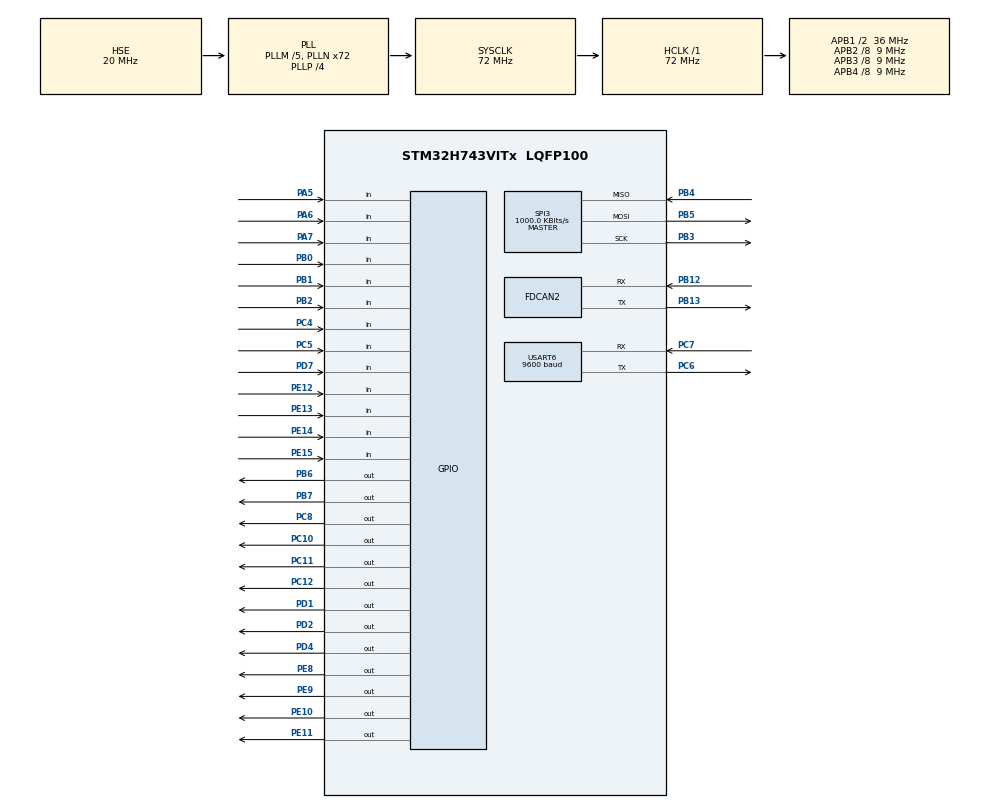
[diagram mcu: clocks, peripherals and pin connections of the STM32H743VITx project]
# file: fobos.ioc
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Dma.Request0=SPI3_TX
Dma.SPI3_TX.0.Direction=DMA_MEMORY_TO_PERIPH
Dma.SPI3_TX.0.EventEnable=DISABLE
Dma.SPI3_TX.0.FIFOMode=DMA_FIFOMODE_DISABLE
Dma.SPI3_TX.0.Instance=DMA1_Stream0
Dma.SPI3_TX.0.MemDataAlignment=DMA_MDATAALIGN_BYTE
Dma.SPI3_TX.0.MemInc=DMA_MINC_ENABLE
Dma.SPI3_TX.0.Mode=DMA_NORMAL
Dma.SPI3_TX.0.PeriphDataAlignment=DMA_PDATAALIGN_BYTE
Dma.SPI3_TX.0.PeriphInc=DMA_PINC_DISABLE
Dma.SPI3_TX.0.Polarity=HAL_DMAMUX_REQ_GEN_RISING
Dma.SPI3_TX.0.Priority=DMA_PRIORITY_LOW
Dma.SPI3_TX.0.RequestNumber=1
Dma.SPI3_TX.0.SyncEnable=DISABLE
Dma.SPI3_TX.0.SyncPolarity=HAL_DMAMUX_SYNC_NO_EVENT
Dma.SPI3_TX.0.SyncRequestNumber=1
FDCAN2.AutoRetransmission=ENABLE
FDCAN2.Init_ProtocolException=ENABLE
FDCAN2.NominalPrescaler=4
FDCAN2.NominalTimeSeg1=13
FDCAN2.RxBuffersNbr=0
FDCAN2.RxFifo0ElmtsNbr=4
FDCAN2.RxFifo1ElmtsNbr=1
FDCAN2.StdFiltersNbr=3
FDCAN2.TxBuffersNbr=5
FDCAN2.TxFifoQueueElmtsNbr=0
FDCAN2.TxFifoQueueMode=FDCAN_TX_QUEUE_OPERATION
FREERTOS.Tasks01=EthTask,0,1024,EthernetTask_func,Default,NULL,Dynamic,NULL,NULL;DigIOTask,-1,128,DigIOTask_func,Default,NULL,Dynamic,NULL,NULL
FREERTOS.configUSE_TIMERS=1
Mcu.Family=STM32H7
Mcu.Name=STM32H743VITx
Mcu.Package=LQFP100
NVIC.DMA1_Stream0_IRQn=true\:5\:0\:false\:false\:true\:true\:false
NVIC.PriorityGroup=NVIC_PRIORITYGROUP_4
NVIC.SPI3_IRQn=true\:5\:0\:false\:false\:true\:true\:false
NVIC.TIM7_IRQn=true\:5\:0\:false\:false\:true\:true\:true
PA13\ (JTMS/SWDIO).Mode=Serial_Wire
PA13\ (JTMS/SWDIO).Signal=SYS_JTMS-SWDIO
PA14\ (JTCK/SWCLK).Mode=Serial_Wire
PA14\ (JTCK/SWCLK).Signal=SYS_JTCK-SWCLK
PA5.Signal=GPIO_Input
PA6.Signal=GPIO_Input
PA7.Signal=GPIO_Input
PB0.Signal=GPIO_Input
PB1.Signal=GPIO_Input
PB12.Mode=FDCANSlave
PB12.Signal=FDCAN2_RX
PB13.Mode=FDCANSlave
PB13.Signal=FDCAN2_TX
PB2.Signal=GPIO_Input
PB3\ (JTDO/TRACESWO).GPIO_Mode=GPIO_MODE_AF_PP
PB3\ (JTDO/TRACESWO).GPIO_PuPd=GPIO_PULLDOWN
PB3\ (JTDO/TRACESWO).GPIO_Speed=GPIO_SPEED_FREQ_VERY_HIGH
PB3\ (JTDO/TRACESWO).Mode=Full_Duplex_Master
PB3\ (JTDO/TRACESWO).Signal=SPI3_SCK
PB4\ (NJTRST).GPIO_Mode=GPIO_MODE_AF_PP
PB4\ (NJTRST).GPIO_PuPd=GPIO_PULLDOWN
PB4\ (NJTRST).GPIO_Speed=GPIO_SPEED_FREQ_VERY_HIGH
PB4\ (NJTRST).Mode=Full_Duplex_Master
PB4\ (NJTRST).Signal=SPI3_MISO
PB5.GPIO_Mode=GPIO_MODE_AF_PP
PB5.GPIO_PuPd=GPIO_PULLDOWN
PB5.GPIO_Speed=GPIO_SPEED_FREQ_VERY_HIGH
PB5.Mode=Full_Duplex_Master
PB5.Signal=SPI3_MOSI
PB6.GPIO_FM6=SYSCFG_PMCR_I2C_PB6_FMP
PB6.GPIO_PuPd=GPIO_PULLDOWN
PB6.GPIO_Speed=GPIO_SPEED_FREQ_HIGH
PB6.Signal=GPIO_Output
PB7.Signal=GPIO_Output
PC10.GPIO_PuPd=GPIO_PULLDOWN
PC10.Signal=GPIO_Output
PC11.GPIO_PuPd=GPIO_PULLDOWN
PC11.Signal=GPIO_Output
PC12.GPIO_PuPd=GPIO_PULLDOWN
PC12.Signal=GPIO_Output
PC14-OSC32_IN\ (OSC32_IN).Mode=LSE-External-Oscillator
PC14-OSC32_IN\ (OSC32_IN).Signal=RCC_OSC32_IN
PC15-OSC32_OUT\ (OSC32_OUT).Mode=LSE-External-Oscillator
PC15-OSC32_OUT\ (OSC32_OUT).Signal=RCC_OSC32_OUT
PC4.Signal=GPIO_Input
PC5.Signal=GPIO_Input
PC6.Mode=Asynchronous
PC6.Signal=USART6_TX
PC7.Mode=Asynchronous
PC7.Signal=USART6_RX
PC8.GPIO_PuPd=GPIO_PULLDOWN
PC8.Signal=GPIO_Output
PD1.GPIO_PuPd=GPIO_PULLDOWN
PD1.Signal=GPIO_Output
PD2.GPIO_PuPd=GPIO_PULLDOWN
PD2.Signal=GPIO_Output
PD4.GPIO_PuPd=GPIO_PULLDOWN
PD4.Signal=GPIO_Output
PD7.GPIO_PuPd=GPIO_PULLDOWN
PD7.Signal=GPIO_Input
PE10.Signal=GPIO_Output
PE11.Signal=GPIO_Output
PE12.Signal=GPIO_Input
PE13.Signal=GPIO_Input
PE14.Signal=GPIO_Input
PE15.Signal=GPIO_Input
PE8.Signal=GPIO_Output
PE9.Signal=GPIO_Output
PH0-OSC_IN\ (PH0).Mode=HSE-External-Oscillator
PH0-OSC_IN\ (PH0).Signal=RCC_OSC_IN
PH1-OSC_OUT\ (PH1).Mode=HSE-External-Oscillator
PH1-OSC_OUT\ (PH1).Signal=RCC_OSC_OUT
ProjectManager.HeapSize=0x200
ProjectManager.StackSize=0x400
ProjectManager.TargetToolchain=TrueSTUDIO
RCC.ADCFreq_Value=75000000
RCC.APB1Freq_Value=36000000
RCC.APB2Freq_Value=9000000
RCC.APB3Freq_Value=9000000
RCC.APB4Freq_Value=9000000
RCC.CKPERSourceSelection=RCC_CLKPSOURCE_HSE
RCC.CortexFreq_Value=72000000
RCC.D1PPRE=RCC_APB3_DIV8
RCC.D2PPRE1=RCC_APB1_DIV2
RCC.D2PPRE2=RCC_APB2_DIV8
RCC.D3PPRE=RCC_APB4_DIV8
RCC.DIVM1=5
RCC.DIVM2=20
RCC.DIVM3=8
RCC.DIVN1=72
RCC.DIVN2=150
RCC.DIVN3=96
RCC.DIVP1=4
RCC.DIVP3=128
RCC.DIVQ1=9
RCC.DIVQ2=30
RCC.DIVQ3=5
RCC.HCLKFreq_Value=72000000
RCC.HSE_VALUE=20000000
RCC.PLLSourceVirtual=RCC_PLLSOURCE_HSE
RCC.SYSCLKFreq_VALUE=72000000
RCC.SYSCLKSource=RCC_SYSCLKSOURCE_PLLCLK
RCC.USART16CLockSelection=RCC_USART16CLKSOURCE_PLL2
RCC.USBCLockSelection=RCC_USBCLKSOURCE_PLL3
RCC.USBFreq_Value=48000000
SPI3.BaudRatePrescaler=SPI_BAUDRATEPRESCALER_32
SPI3.CalculateBaudRate=1000.0 KBits/s
SPI3.DataSize=SPI_DATASIZE_8BIT
SPI3.Direction=SPI_DIRECTION_2LINES
SPI3.Mode=SPI_MODE_MASTER
SPI3.VirtualType=VM_MASTER
TIM7.Period=1500
TIM7.Prescaler=2000
USART6.BaudRate=9600
USART6.FIFOMode=FIFOMODE_DISABLE
USART6.VirtualMode=VM_ASYNC
VP_FREERTOS_VS_ENABLE.Mode=Enabled
VP_IWDG1_VS_IWDG.Mode=IWDG_Activate
VP_TIM7_VS_ClockSourceINT.Mode=Enable_Timer
board=custom

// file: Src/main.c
/* USER CODE BEGIN Header */
/**
  ******************************************************************************
  * @file           : main.c
  * @brief          : Main program body
  ******************************************************************************
  * This notice applies to any and all portions of this file
  * that are not between comment pairs USER CODE BEGIN and
  * USER CODE END. Other portions of this file, whether
  * inserted by the user or by software development tools
  * are owned by their respective copyright owners.
  *
  * Copyright (c) 2019 STMicroelectronics International N.V.
  * All rights reserved.
  *
  * Redistribution and use in source and binary forms, with or without
  * modification, are permitted, provided that the following conditions are met:
  *
  * 1. Redistribution of source code must retain the above copyright notice,
  *    this list of conditions and the following disclaimer.
  * 2. Redistributions in binary form must reproduce the above copyright notice,
  *    this list of conditions and the following disclaimer in the documentation
  *    and/or other materials provided with the distribution.
  * 3. Neither the name of STMicroelectronics nor the names of other
  *    contributors to this software may be used to endorse or promote products
  *    derived from this software without specific written permission.
  * 4. This software, including modifications and/or derivative works of this
  *    software, must execute solely and exclusively on microcontroller or
  *    microprocessor devices manufactured by or for STMicroelectronics.
  * 5. Redistribution and use of this software other than as permitted under
  *    this license is void and will automatically terminate your rights under
  *    this license.
  *
  * THIS SOFTWARE IS PROVIDED BY STMICROELECTRONICS AND CONTRIBUTORS "AS IS"
  * AND ANY EXPRESS, IMPLIED OR STATUTORY WARRANTIES, INCLUDING, BUT NOT
  * LIMITED TO, THE IMPLIED WARRANTIES OF MERCHANTABILITY, FITNESS FOR A
  * PARTICULAR PURPOSE AND NON-INFRINGEMENT OF THIRD PARTY INTELLECTUAL PROPERTY
  * RIGHTS ARE DISCLAIMED TO THE FULLEST EXTENT PERMITTED BY LAW. IN NO EVENT
  * SHALL STMICROELECTRONICS OR CONTRIBUTORS BE LIABLE FOR ANY DIRECT, INDIRECT,
  * INCIDENTAL, SPECIAL, EXEMPLARY, OR CONSEQUENTIAL DAMAGES (INCLUDING, BUT NOT
  * LIMITED TO, PROCUREMENT OF SUBSTITUTE GOODS OR SERVICES; LOSS OF USE, DATA,
  * OR PROFITS; OR BUSINESS INTERRUPTION) HOWEVER CAUSED AND ON ANY THEORY OF
  * LIABILITY, WHETHER IN CONTRACT, STRICT LIABILITY, OR TORT (INCLUDING
  * NEGLIGENCE OR OTHERWISE) ARISING IN ANY WAY OUT OF THE USE OF THIS SOFTWARE,
  * EVEN IF ADVISED OF THE POSSIBILITY OF SUCH DAMAGE.
  *
  ******************************************************************************
  */
/* USER CODE END Header */

#include "main.h"
#include "cmsis_os.h"

/* USER CODE BEGIN Includes */
#include "fobos_eth.h"
#include "own_defines.h"

//#include "webserver.h"
/* USER CODE END Includes */

FDCAN_HandleTypeDef hfdcan2;

IWDG_HandleTypeDef hiwdg1;

SPI_HandleTypeDef hspi3;
DMA_HandleTypeDef hdma_spi3_tx;

TIM_HandleTypeDef htim7;

UART_HandleTypeDef huart6;

osThreadId EthTaskHandle;
osThreadId DigIOTaskHandle;

TaskHandle_t xFobos_scan_Handle = NULL;//osThreadId is a TaskHandle_t

TimerHandle_t xTimer_btn_timer;

void SystemClock_Config(void);
static void MX_GPIO_Init(void);
static void MX_DMA_Init(void);
static void MX_USART6_UART_Init(void);
static void MX_TIM7_Init(void);
static void MX_SPI3_Init(void);
static void MX_FDCAN2_Init(void);
static void MX_IWDG1_Init(void);
void EthernetTask_func(void const * argument);
void DigIOTask_func(void const * argument);
void vTimerCallback(TimerHandle_t);
void vTimerCallback1(TimerHandle_t);
void vFobos_Start_Process();

/* USER CODE BEGIN PFP */
void test_task();
/* USER CODE END PFP */

/* USER CODE BEGIN 0 */
#define LED_VD5(state)		HAL_GPIO_WritePin(GPIOC, GPIO_PIN_12, state)
#define LED_VD6(state)		HAL_GPIO_WritePin(GPIOC, GPIO_PIN_11, state)
#define LED_VD7(state)		HAL_GPIO_WritePin(GPIOC, GPIO_PIN_10, state)
/* USER CODE END 0 */

int main(void)
{

  /* MCU Configuration--------------------------------------------------------*/

  /* Reset of all peripherals, Initializes the Flash interface and the Systick. */
  HAL_Init();

  /* Configure the system clock */
  SystemClock_Config();

  /* Initialize all configured peripherals */
  MX_GPIO_Init();
  MX_DMA_Init();
  MX_USART6_UART_Init();
  MX_TIM7_Init();
  MX_SPI3_Init();
  MX_FDCAN2_Init();
  MX_IWDG1_Init();

  /* USER CODE BEGIN RTOS_TIMERS */
  /* start timers, add new ones, ... */

  //xTimer_btn_timer = xTimerCreate("Btn timer", 10000, pdFALSE, (void*)0, vTimerCallback1);
  /* USER CODE END RTOS_TIMERS */

  /* Create the thread(s) */
  /* definition and creation of EthTask */
  osThreadDef(EthTask, EthernetTask_func, osPriorityNormal, 0, 2048);
  EthTaskHandle = osThreadCreate(osThread(EthTask), NULL);

  /* definition and creation of DigIOTask */
  osThreadDef(DigIOTask, DigIOTask_func, osPriorityLow, 0, 128);
  DigIOTaskHandle = osThreadCreate(osThread(DigIOTask), NULL);

  /* USER CODE BEGIN RTOS_THREADS */
  /* add threads, ... */
  /*if(xTaskCreate(website_server, "website_server", 2048, (void*)0, osPriorityAboveNormal, &xFobos_scan_Handle) != pdPASS)
      Error_Handler();*/
    /*if(xTaskCreate(test_task, "website_server", 2048, (void*)0, osPriorityAboveNormal, &xFobos_scan_Handle) != pdPASS)
      Error_Handler();
  /* USER CODE END RTOS_THREADS */

  /* Start scheduler */
  osKernelStart();

  /* We should never get here as control is now taken by the scheduler */

  /* Infinite loop */
  while (1)
  {

  }
}

void SystemClock_Config(void)
{
  RCC_OscInitTypeDef RCC_OscInitStruct = {0};
  RCC_ClkInitTypeDef RCC_ClkInitStruct = {0};
  RCC_PeriphCLKInitTypeDef PeriphClkInitStruct = {0};

  /**Supply configuration update enable
  */
  MODIFY_REG(PWR->CR3, PWR_CR3_SCUEN, 0);
  /**Configure the main internal regulator output voltage
  */
  __HAL_PWR_VOLTAGESCALING_CONFIG(PWR_REGULATOR_VOLTAGE_SCALE3);

  while ((PWR->D3CR & (PWR_D3CR_VOSRDY)) != PWR_D3CR_VOSRDY)
  {

  }
  /**Macro to configure the PLL clock source
  */
  __HAL_RCC_PLL_PLLSOURCE_CONFIG(RCC_PLLSOURCE_HSE);
  /**Initializes the CPU, AHB and APB busses clocks
  */
  RCC_OscInitStruct.OscillatorType = RCC_OSCILLATORTYPE_LSI|RCC_OSCILLATORTYPE_HSE;
  RCC_OscInitStruct.HSEState = RCC_HSE_ON;
  RCC_OscInitStruct.LSIState = RCC_LSI_ON;
  RCC_OscInitStruct.PLL.PLLState = RCC_PLL_ON;
  RCC_OscInitStruct.PLL.PLLSource = RCC_PLLSOURCE_HSE;
  RCC_OscInitStruct.PLL.PLLM = 5;
  RCC_OscInitStruct.PLL.PLLN = 72;
  RCC_OscInitStruct.PLL.PLLP = 4;
  RCC_OscInitStruct.PLL.PLLQ = 9;
  RCC_OscInitStruct.PLL.PLLR = 2;
  RCC_OscInitStruct.PLL.PLLRGE = RCC_PLL1VCIRANGE_2;
  RCC_OscInitStruct.PLL.PLLVCOSEL = RCC_PLL1VCOWIDE;
  RCC_OscInitStruct.PLL.PLLFRACN = 0;
  if (HAL_RCC_OscConfig(&RCC_OscInitStruct) != HAL_OK)
  {
    Error_Handler();
  }
  /**Initializes the CPU, AHB and APB busses clocks
  */
  RCC_ClkInitStruct.ClockType = RCC_CLOCKTYPE_HCLK|RCC_CLOCKTYPE_SYSCLK
                              |RCC_CLOCKTYPE_PCLK1|RCC_CLOCKTYPE_PCLK2
                              |RCC_CLOCKTYPE_D3PCLK1|RCC_CLOCKTYPE_D1PCLK1;
  RCC_ClkInitStruct.SYSCLKSource = RCC_SYSCLKSOURCE_PLLCLK;
  RCC_ClkInitStruct.SYSCLKDivider = RCC_SYSCLK_DIV1;
  RCC_ClkInitStruct.AHBCLKDivider = RCC_HCLK_DIV1;
  RCC_ClkInitStruct.APB3CLKDivider = RCC_APB3_DIV8;
  RCC_ClkInitStruct.APB1CLKDivider = RCC_APB1_DIV2;
  RCC_ClkInitStruct.APB2CLKDivider = RCC_APB2_DIV8;
  RCC_ClkInitStruct.APB4CLKDivider = RCC_APB4_DIV8;

  if (HAL_RCC_ClockConfig(&RCC_ClkInitStruct, FLASH_LATENCY_1) != HAL_OK)
  {
    Error_Handler();
  }
  PeriphClkInitStruct.PeriphClockSelection = RCC_PERIPHCLK_USART6|RCC_PERIPHCLK_FDCAN
                              |RCC_PERIPHCLK_SPI3;
  PeriphClkInitStruct.PLL2.PLL2M = 20;
  PeriphClkInitStruct.PLL2.PLL2N = 150;
  PeriphClkInitStruct.PLL2.PLL2P = 2;
  PeriphClkInitStruct.PLL2.PLL2Q = 30;
  PeriphClkInitStruct.PLL2.PLL2R = 2;
  PeriphClkInitStruct.PLL2.PLL2RGE = RCC_PLL2VCIRANGE_0;
  PeriphClkInitStruct.PLL2.PLL2VCOSEL = RCC_PLL2VCOMEDIUM;
  PeriphClkInitStruct.PLL2.PLL2FRACN = 0;
  PeriphClkInitStruct.Spi123ClockSelection = RCC_SPI123CLKSOURCE_PLL;
  PeriphClkInitStruct.FdcanClockSelection = RCC_FDCANCLKSOURCE_PLL;
  PeriphClkInitStruct.Usart16ClockSelection = RCC_USART16CLKSOURCE_PLL2;
  if (HAL_RCCEx_PeriphCLKConfig(&PeriphClkInitStruct) != HAL_OK)
  {
    Error_Handler();
  }
}

static void MX_FDCAN2_Init(void)
{

  hfdcan2.Instance = FDCAN2;
   hfdcan2.Init.FrameFormat = FDCAN_FRAME_CLASSIC;
   hfdcan2.Init.Mode = FDCAN_MODE_NORMAL;
   hfdcan2.Init.AutoRetransmission = ENABLE;
   hfdcan2.Init.TransmitPause = DISABLE;
   hfdcan2.Init.NominalPrescaler = 4;
   hfdcan2.Init.NominalSyncJumpWidth = 1;
   hfdcan2.Init.NominalTimeSeg1 = 13;
   hfdcan2.Init.NominalTimeSeg2 = 2;
   hfdcan2.Init.DataPrescaler = 1;
   hfdcan2.Init.DataSyncJumpWidth = 1;
   hfdcan2.Init.DataTimeSeg1 = 1;
   hfdcan2.Init.DataTimeSeg2 = 1;
   hfdcan2.Init.MessageRAMOffset = 0;
   hfdcan2.Init.StdFiltersNbr = 3;
   hfdcan2.Init.ExtFiltersNbr = 0;
   hfdcan2.Init.RxFifo0ElmtsNbr = 4;
   hfdcan2.Init.RxFifo0ElmtSize = FDCAN_DATA_BYTES_8;
   hfdcan2.Init.RxFifo1ElmtsNbr = 1;
   hfdcan2.Init.RxFifo1ElmtSize = FDCAN_DATA_BYTES_8;
   hfdcan2.Init.RxBuffersNbr = 0;
   hfdcan2.Init.RxBufferSize = FDCAN_DATA_BYTES_8;
   hfdcan2.Init.TxEventsNbr = 0;
   hfdcan2.Init.TxBuffersNbr = 5;
   hfdcan2.Init.TxFifoQueueElmtsNbr = 0;
   hfdcan2.Init.TxFifoQueueMode = FDCAN_TX_QUEUE_OPERATION;
   hfdcan2.Init.TxElmtSize = FDCAN_DATA_BYTES_8;
   hfdcan2.msgRam.StandardFilterSA = 0;
   hfdcan2.msgRam.ExtendedFilterSA = 0;
   hfdcan2.msgRam.RxFIFO0SA = 0;
   hfdcan2.msgRam.RxFIFO1SA = 0;
   hfdcan2.msgRam.RxBufferSA = 0;
   hfdcan2.msgRam.TxEventFIFOSA = 0;
   hfdcan2.msgRam.TxBufferSA = 0;
   hfdcan2.msgRam.TxFIFOQSA = 0;
   hfdcan2.msgRam.TTMemorySA = 0;
   hfdcan2.msgRam.EndAddress = 0;
   hfdcan2.ErrorCode = 0;
   if (HAL_FDCAN_Init(&hfdcan2) != HAL_OK)
   {
     Error_Handler();
   }
  /* USER CODE BEGIN FDCAN2_Init 2 */
  FDCAN_Config(0);
  /* USER CODE END FDCAN2_Init 2 */

}

static void MX_IWDG1_Init(void)
{

  hiwdg1.Instance = IWDG1;
  hiwdg1.Init.Prescaler = IWDG_PRESCALER_32;//8 - 1000ms 32 - 4060-4070ms
  hiwdg1.Init.Window = 4095;
  hiwdg1.Init.Reload = 4095;
  if (HAL_IWDG_Init(&hiwdg1) != HAL_OK)
  {
    Error_Handler();
  }
  /* USER CODE BEGIN IWDG1_Init 2 */
  //hiwdg1.Init.Reload = 400;//~780ms! 64 presc
  /* USER CODE END IWDG1_Init 2 */

}

static void MX_SPI3_Init(void)
{

  /* SPI3 parameter configuration*/
  hspi3.Instance = SPI3;
  hspi3.Init.Mode = SPI_MODE_MASTER;
  hspi3.Init.Direction = SPI_DIRECTION_2LINES;
  hspi3.Init.DataSize = SPI_DATASIZE_8BIT;
  hspi3.Init.CLKPolarity = SPI_POLARITY_LOW;
  hspi3.Init.CLKPhase = SPI_PHASE_1EDGE;
  hspi3.Init.NSS = SPI_NSS_SOFT;
  hspi3.Init.BaudRatePrescaler = SPI_BAUDRATEPRESCALER_64;
  hspi3.Init.FirstBit = SPI_FIRSTBIT_MSB;
  hspi3.Init.TIMode = SPI_TIMODE_DISABLE;
  hspi3.Init.CRCCalculation = SPI_CRCCALCULATION_DISABLE;
  hspi3.Init.CRCPolynomial = 7;
  hspi3.Init.NSSPMode = SPI_NSS_PULSE_ENABLE;
  hspi3.Init.NSSPolarity = SPI_NSS_POLARITY_LOW;
  hspi3.Init.FifoThreshold = SPI_FIFO_THRESHOLD_01DATA;
  hspi3.Init.TxCRCInitializationPattern = SPI_CRC_INITIALIZATION_ALL_ZERO_PATTERN;
  hspi3.Init.RxCRCInitializationPattern = SPI_CRC_INITIALIZATION_ALL_ZERO_PATTERN;
  hspi3.Init.MasterSSIdleness = SPI_MASTER_SS_IDLENESS_00CYCLE;
  hspi3.Init.MasterInterDataIdleness = SPI_MASTER_INTERDATA_IDLENESS_00CYCLE;
  hspi3.Init.MasterReceiverAutoSusp = SPI_MASTER_RX_AUTOSUSP_DISABLE;
  hspi3.Init.MasterKeepIOState = SPI_MASTER_KEEP_IO_STATE_DISABLE;
  hspi3.Init.IOSwap = SPI_IO_SWAP_DISABLE;
  if (HAL_SPI_Init(&hspi3) != HAL_OK)
  {
    Error_Handler();
  }

}

static void MX_TIM7_Init(void)
{

  TIM_MasterConfigTypeDef sMasterConfig = {0};

  htim7.Instance = TIM7;
  htim7.Init.Prescaler = 2000;
  htim7.Init.CounterMode = TIM_COUNTERMODE_UP;
  htim7.Init.Period = 1500;
  htim7.Init.AutoReloadPreload = TIM_AUTORELOAD_PRELOAD_DISABLE;
  if (HAL_TIM_Base_Init(&htim7) != HAL_OK)
  {
    Error_Handler();
  }
  sMasterConfig.MasterOutputTrigger = TIM_TRGO_RESET;
  sMasterConfig.MasterSlaveMode = TIM_MASTERSLAVEMODE_DISABLE;
  if (HAL_TIMEx_MasterConfigSynchronization(&htim7, &sMasterConfig) != HAL_OK)
  {
    Error_Handler();
  }

}

static void MX_USART6_UART_Init(void)
{

  huart6.Instance = USART6;
  huart6.Init.BaudRate = 115200;//9600;
  huart6.Init.WordLength = UART_WORDLENGTH_8B;
  huart6.Init.StopBits = UART_STOPBITS_1;
  huart6.Init.Parity = UART_PARITY_NONE;
  huart6.Init.Mode = UART_MODE_TX_RX;
  huart6.Init.HwFlowCtl = UART_HWCONTROL_NONE;
  huart6.Init.OverSampling = UART_OVERSAMPLING_16;
  huart6.Init.OneBitSampling = UART_ONE_BIT_SAMPLE_DISABLE;
  huart6.Init.Prescaler = UART_PRESCALER_DIV1;
  huart6.Init.FIFOMode = UART_FIFOMODE_DISABLE;
  huart6.Init.TXFIFOThreshold = UART_TXFIFO_THRESHOLD_1_8;
  huart6.Init.RXFIFOThreshold = UART_RXFIFO_THRESHOLD_1_8;
  huart6.AdvancedInit.AdvFeatureInit = UART_ADVFEATURE_NO_INIT;
  if (HAL_UART_Init(&huart6) != HAL_OK)
  {
    Error_Handler();
  }

}

static void MX_DMA_Init(void)
{
  /* DMA controller clock enable */
  __HAL_RCC_DMA1_CLK_ENABLE();

  /* DMA interrupt init */
  /* DMA1_Stream0_IRQn interrupt configuration */
  HAL_NVIC_SetPriority(DMA1_Stream0_IRQn, 5, 0);
  HAL_NVIC_EnableIRQ(DMA1_Stream0_IRQn);

}

static void MX_GPIO_Init(void)
{
  GPIO_InitTypeDef GPIO_InitStruct = {0};

  /* GPIO Ports Clock Enable */
  __HAL_RCC_GPIOC_CLK_ENABLE();
  __HAL_RCC_GPIOH_CLK_ENABLE();
  __HAL_RCC_GPIOA_CLK_ENABLE();
  __HAL_RCC_GPIOB_CLK_ENABLE();
  __HAL_RCC_GPIOE_CLK_ENABLE();
  __HAL_RCC_GPIOD_CLK_ENABLE();

  /*Configure GPIO pin Output Level */
  HAL_GPIO_WritePin(GPIOE, GPIO_PIN_8|GPIO_PIN_9|GPIO_PIN_10|GPIO_PIN_11, GPIO_PIN_RESET);

  /*Configure GPIO pin Output Level */
  HAL_GPIO_WritePin(GPIOC, GPIO_PIN_8|GPIO_PIN_10|GPIO_PIN_11|GPIO_PIN_12, GPIO_PIN_RESET);

  /*Configure GPIO pin Output Level */
  HAL_GPIO_WritePin(GPIOD, GPIO_PIN_1|GPIO_PIN_2|GPIO_PIN_4, GPIO_PIN_RESET);

  /*Configure GPIO pin Output Level */
  HAL_GPIO_WritePin(GPIOB, GPIO_PIN_6|GPIO_PIN_7, GPIO_PIN_RESET);

  /*Configure GPIO pins : PA5 PA6 PA7 */
  GPIO_InitStruct.Pin = GPIO_PIN_5|GPIO_PIN_6|GPIO_PIN_7;
  GPIO_InitStruct.Mode = GPIO_MODE_INPUT;
  GPIO_InitStruct.Pull = GPIO_NOPULL;
  HAL_GPIO_Init(GPIOA, &GPIO_InitStruct);

  /*Configure GPIO pins : PC4 PC5 */
  GPIO_InitStruct.Pin = GPIO_PIN_4|GPIO_PIN_5;
  GPIO_InitStruct.Mode = GPIO_MODE_INPUT;
  GPIO_InitStruct.Pull = GPIO_NOPULL;
  HAL_GPIO_Init(GPIOC, &GPIO_InitStruct);

  /*Configure GPIO pins : PB0 PB1 PB2 */
  GPIO_InitStruct.Pin = GPIO_PIN_0|GPIO_PIN_1|GPIO_PIN_2;
  GPIO_InitStruct.Mode = GPIO_MODE_INPUT;
  GPIO_InitStruct.Pull = GPIO_NOPULL;
  HAL_GPIO_Init(GPIOB, &GPIO_InitStruct);

  /*Configure GPIO pins : PE8 PE9 PE10 PE11 */
  GPIO_InitStruct.Pin = GPIO_PIN_8|GPIO_PIN_9|GPIO_PIN_10|GPIO_PIN_11;
  GPIO_InitStruct.Mode = GPIO_MODE_OUTPUT_PP;
  GPIO_InitStruct.Pull = GPIO_NOPULL;
  GPIO_InitStruct.Speed = GPIO_SPEED_FREQ_LOW;
  HAL_GPIO_Init(GPIOE, &GPIO_InitStruct);

  /*Configure GPIO pins : PE12 PE13 PE14 PE15 */
  GPIO_InitStruct.Pin = GPIO_PIN_12|GPIO_PIN_13|GPIO_PIN_14|GPIO_PIN_15;
  GPIO_InitStruct.Mode = GPIO_MODE_INPUT;
  GPIO_InitStruct.Pull = GPIO_NOPULL;
  HAL_GPIO_Init(GPIOE, &GPIO_InitStruct);

  /*Configure GPIO pins : PC8 PC10 PC11 PC12 */
  GPIO_InitStruct.Pin = GPIO_PIN_8|GPIO_PIN_10|GPIO_PIN_11|GPIO_PIN_12;
  GPIO_InitStruct.Mode = GPIO_MODE_OUTPUT_PP;
  GPIO_InitStruct.Pull = GPIO_PULLDOWN;
  GPIO_InitStruct.Speed = GPIO_SPEED_FREQ_LOW;
  HAL_GPIO_Init(GPIOC, &GPIO_InitStruct);

  /*Configure GPIO pins : PD1 PD2 PD4 */
  GPIO_InitStruct.Pin = GPIO_PIN_1|GPIO_PIN_2|GPIO_PIN_4;
  GPIO_InitStruct.Mode = GPIO_MODE_OUTPUT_PP;
  GPIO_InitStruct.Pull = GPIO_PULLDOWN;
  GPIO_InitStruct.Speed = GPIO_SPEED_FREQ_LOW;
  HAL_GPIO_Init(GPIOD, &GPIO_InitStruct);

  /*Configure GPIO pin : PD7 */
  GPIO_InitStruct.Pin = GPIO_PIN_7;
  GPIO_InitStruct.Mode = GPIO_MODE_INPUT;
  GPIO_InitStruct.Pull = GPIO_PULLDOWN;
  HAL_GPIO_Init(GPIOD, &GPIO_InitStruct);

  /*Configure GPIO pin : PB6 */
  GPIO_InitStruct.Pin = GPIO_PIN_6;
  GPIO_InitStruct.Mode = GPIO_MODE_OUTPUT_PP;
  GPIO_InitStruct.Pull = GPIO_PULLDOWN;
  GPIO_InitStruct.Speed = GPIO_SPEED_FREQ_HIGH;
  HAL_GPIO_Init(GPIOB, &GPIO_InitStruct);

  /*Configure GPIO pin : PB7 */
  GPIO_InitStruct.Pin = GPIO_PIN_7;
  GPIO_InitStruct.Mode = GPIO_MODE_OUTPUT_PP;
  GPIO_InitStruct.Pull = GPIO_NOPULL;
  GPIO_InitStruct.Speed = GPIO_SPEED_FREQ_LOW;
  HAL_GPIO_Init(GPIOB, &GPIO_InitStruct);

  /**/
  HAL_I2CEx_EnableFastModePlus(SYSCFG_PMCR_I2C_PB6_FMP);

}

/* USER CODE BEGIN 4 */
uint32_t check_adr_func(){
	uint32_t address_buf=0;
	if(HAL_GPIO_ReadPin(GPIOE, GPIO_PIN_12))//1
		address_buf |= 1;
	if(HAL_GPIO_ReadPin(GPIOE, GPIO_PIN_13))//2
			address_buf |= 2;
	if(HAL_GPIO_ReadPin(GPIOE, GPIO_PIN_14))//3
			address_buf |= 4;
	if(HAL_GPIO_ReadPin(GPIOE, GPIO_PIN_15))//4
			address_buf |= 8;
	if(HAL_GPIO_ReadPin(GPIOB, GPIO_PIN_10))//5
			address_buf |= 16;
	/*if(HAL_GPIO_ReadPin(GPIOB, GPIO_PIN_11))//6
			address_buf += 6;*/
	return address_buf;
}

char can_tx_func(FDCAN_HandleTypeDef *hfdcan, unsigned int ID, uint32_t data_lenght, uint8_t *data, uint32_t can_buf_num)
{
	FDCAN_TxHeaderTypeDef TxHeader;
	TxHeader.Identifier = ID;
	TxHeader.IdType = FDCAN_STANDARD_ID;
	TxHeader.TxFrameType = FDCAN_DATA_FRAME;
	TxHeader.DataLength = (data_lenght<<16);
	TxHeader.ErrorStateIndicator = FDCAN_ESI_ACTIVE;
	TxHeader.BitRateSwitch = FDCAN_BRS_OFF;
	TxHeader.FDFormat = FDCAN_CLASSIC_CAN;
	TxHeader.TxEventFifoControl = FDCAN_TX_EVENT;
	TxHeader.MessageMarker = 0;

	HAL_FDCAN_AddMessageToTxBuffer(hfdcan, &TxHeader, data, can_buf_num);
	HAL_FDCAN_EnableTxBufferRequest(hfdcan, can_buf_num);
	static a=0;
	LED_VD6(a^=1);
	  return 0xFF;
}

void FDCAN_Config(uint32_t adr)
{
  /* Configure Rx filter */
	FDCAN_FilterTypeDef sFilterConfig, sFilterConfig1;
	sFilterConfig.IdType = FDCAN_STANDARD_ID;
	sFilterConfig.FilterIndex = 1;
	sFilterConfig.FilterType = FDCAN_FILTER_MASK;
	sFilterConfig.FilterConfig = FDCAN_FILTER_TO_RXFIFO0;
	sFilterConfig.FilterID1 = adr;
	sFilterConfig.FilterID2 = 0x000;

	sFilterConfig1.IdType = FDCAN_STANDARD_ID;
	sFilterConfig1.FilterIndex = 2;
	sFilterConfig1.FilterType = FDCAN_FILTER_MASK;
	sFilterConfig1.FilterConfig = FDCAN_FILTER_TO_RXFIFO1_HP;
	sFilterConfig1.FilterID1 = 0x080;
	sFilterConfig1.FilterID2 = 0x0FF;
	HAL_FDCAN_ConfigGlobalFilter(&hfdcan2, FDCAN_REJECT, FDCAN_REJECT, DISABLE, DISABLE);
	if (HAL_FDCAN_ConfigFilter(&hfdcan2, &sFilterConfig) != HAL_OK)
	{
		Error_Handler();
	}

	if (HAL_FDCAN_ConfigFilter(&hfdcan2, &sFilterConfig1) != HAL_OK)
	{
		/* Filter configuration Error */
		Error_Handler();
	}

  /* Start the FDCAN module */
  if (HAL_FDCAN_Start(&hfdcan2) != HAL_OK)
  {
    /* Start Error */
    Error_Handler();
  }
}

void vTimerCallback1(TimerHandle_t Timer){
	LED_VD7(SET);
	DIG_OUT2(RESET);//magnets for table
}
extern uint8_t canopen_transmit(uint16_t COB_ID, uint8_t control_field, uint16_t index, uint8_t subindex, uint8_t *data);
//extern char can_tx_func(FDCAN_HandleTypeDef *hfdcan, unsigned int ID, uint32_t data_lenght, uint8_t *data);
void test_task(){

  for(;;){
      vTaskDelay(250);
      uint8_t data[4];
      canopen_transmit(0x555, 0x6040,0,0,data);
  }
}
/* USER CODE END 4 */

void DigIOTask_func(void const * argument)
{
  /* USER CODE BEGIN DigIOTask_func */
	//MOTOR_STO_EN(SET);
	TABLE_MAGNETS(RESET);
	LED_VD5(SET);
	LED_VD6(SET);
	LED_VD7(SET);

	vTaskDelay(150);

	//timer creating
	uint8_t prev_btn_state = 0, btn_press_val = 0;

  /* Infinite loop */
  for(;;)
  {
	  if(BTN_STATE)
	  {
		  btn_press_val <<= 1;
		  btn_press_val |= 1;
		  if(TABLE_LOCK_SENSOR_LEFT || TABLE_LOCK_SENSOR_RIGHT)
		  if(btn_press_val == 0xFF && BTN_STATE != prev_btn_state && BTN_STATE - prev_btn_state > 0)
		  {
		      TABLE_MAGNETS(SET);
		      LED_VD7(RESET);
		      prev_btn_state = BTN_STATE;
		  }
	  }
	  else
	  {
		  btn_press_val = 0;
		  prev_btn_state = 0;
	  }
	  if(!TABLE_LOCK_SENSOR_LEFT & !TABLE_LOCK_SENSOR_RIGHT){
	      TABLE_MAGNETS(RESET);
	      LED_VD7(SET);
	  }
	  vTaskDelay(1);

  }
  /* USER CODE END DigIOTask_func */
}

void Error_Handler(void)
{
  /* USER CODE BEGIN Error_Handler_Debug */
  while(1);
  /* User can add his own implementation to report the HAL error return state */

  /* USER CODE END Error_Handler_Debug */
}

/************************ (C) COPYRIGHT STMicroelectronics *****END OF FILE****/
